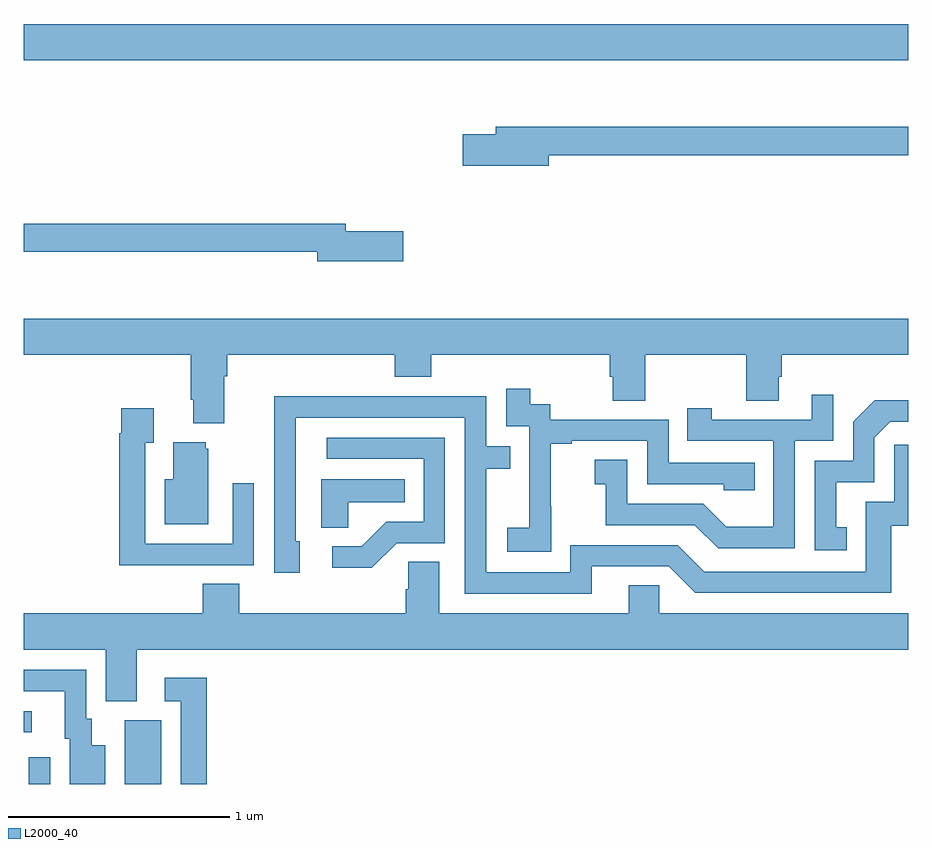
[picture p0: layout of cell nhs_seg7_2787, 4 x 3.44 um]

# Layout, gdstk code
import gdstk
lib = gdstk.Library(unit=1e-6, precision=1e-09)
def R(c, l, rs):  # rectangles x0, y0, x1, y1
    for r in rs: c.add(gdstk.rectangle(r[:2], r[2:], *l))
def P(c, l, *ps):  # polygons
    for p in ps: c.add(gdstk.Polygon(p, *l))
L2000_40 = (2000, 40)

nhs_seg7_2787 = lib.new_cell('nhs_seg7_2787')
R(nhs_seg7_2787, L2000_40, [(291.024,1008,291.12,1008.121), (291.458,1008,291.622,1008.288), (291,1008.234,291.037,1008.33), (291,1011.272,295,1011.436)])
P(nhs_seg7_2787, L2000_40, [(293.374,1010.842),(295,1010.842),(295,1010.971),(293.135,1010.971),(293.135,1010.937),(292.986,1010.937),(292.986,1010.795),(293.374,1010.795)],
  [(292.717,1010.498),(292.456,1010.498),(292.456,1010.534),(291,1010.534),(291,1010.406),(292.328,1010.406),(292.328,1010.363),(292.717,1010.363)],
  [(291.907,1009.844),(291.92,1009.844),(291.92,1009.94),(292.679,1009.94),(292.679,1009.841),(292.844,1009.841),(292.844,1009.94),(293.651,1009.94),(293.651,1009.842),(293.663,1009.842),(293.663,1009.732),(293.811,1009.732),(293.811,1009.94),(294.268,1009.94),(294.268,1009.732),(294.415,1009.732),(294.415,1009.842),(294.428,1009.842),(294.428,1009.94),(295,1009.94),(295,1010.104),(291,1010.104),(291,1009.94),(291.755,1009.94),(291.755,1009.738),(291.767,1009.738),(291.767,1009.631),(291.907,1009.631)],
  [(293.385,1009.255),(293.384,1009.255),(293.384,1009.539),(293.479,1009.539),(293.479,1009.551),(293.82,1009.551),(293.82,1009.356),(294.165,1009.356),(294.165,1009.329),(294.305,1009.329),(294.305,1009.452),(293.916,1009.452),(293.916,1009.647),(293.382,1009.647),(293.382,1009.716),(293.29,1009.716),(293.29,1009.786),(293.181,1009.786),(293.181,1009.617),(293.286,1009.617),(293.286,1009.388),(293.285,1009.388),(293.285,1009.159),(293.187,1009.159),(293.187,1009.049),(293.385,1009.049)],
  [(294.486,1009.551),(294.66,1009.551),(294.66,1009.759),(294.563,1009.759),(294.563,1009.647),(294.112,1009.647),(294.112,1009.699),(294.001,1009.699),(294.001,1009.551),(294.39,1009.551),(294.39,1009.162),(294.176,1009.162),(294.072,1009.266),(293.73,1009.266),(293.73,1009.465),(293.583,1009.465),(293.583,1009.355),(293.632,1009.355),(293.632,1009.17),(294.035,1009.17),(294.14,1009.065),(294.486,1009.065)],
  [(293.569,1008.984),(293.916,1008.984),(294.036,1008.864),(294.923,1008.864),(294.923,1009.167),(295,1009.167),(295,1009.534),(294.936,1009.534),(294.936,1009.275),(294.807,1009.275),(294.807,1008.96),(294.078,1008.96),(293.958,1009.08),(293.472,1009.08),(293.472,1008.957),(293.091,1008.957),(293.091,1009.426),(293.201,1009.426),(293.201,1009.527),(293.091,1009.527),(293.091,1009.752),(292.595,1009.752),(292.595,1009.754),(292.132,1009.754),(292.132,1009.447),(292.134,1009.447),(292.134,1008.954),(292.249,1008.954),(292.249,1009.098),(292.23,1009.098),(292.23,1009.656),(292.995,1009.656),(292.995,1008.861),(293.569,1008.861)],
  [(294.722,1009.161),(294.673,1009.161),(294.673,1009.365),(294.846,1009.365),(294.846,1009.566),(294.918,1009.638),(295,1009.638),(295,1009.736),(294.848,1009.736),(294.75,1009.638),(294.75,1009.461),(294.576,1009.461),(294.576,1009.056),(294.722,1009.056)],
  [(291.725,1008.99),(292.041,1008.99),(292.041,1009.36),(291.945,1009.36),(291.945,1009.086),(291.549,1009.086),(291.549,1009.543),(291.589,1009.543),(291.589,1009.699),(291.441,1009.699),(291.441,1009.586),(291.433,1009.586),(291.433,1008.989),(291.725,1008.989)],
  [(292.686,1009.089),(292.905,1009.089),(292.905,1009.566),(292.371,1009.566),(292.371,1009.47),(292.809,1009.47),(292.809,1009.185),(292.64,1009.185),(292.529,1009.074),(292.395,1009.074),(292.395,1008.977),(292.573,1008.977)],
  [(291.835,1009.515),(291.824,1009.515),(291.824,1009.546),(291.677,1009.546),(291.677,1009.378),(291.638,1009.378),(291.638,1009.175),(291.835,1009.175)],
  [(292.467,1009.274),(292.724,1009.274),(292.724,1009.378),(292.346,1009.378),(292.346,1009.159),(292.467,1009.159)],
  [(291.511,1008.608),(295,1008.608),(295,1008.772),(293.874,1008.772),(293.874,1008.899),(293.735,1008.899),(293.735,1008.772),(292.879,1008.772),(292.879,1009.004),(292.74,1009.004),(292.74,1008.881),(292.727,1008.881),(292.727,1008.772),(291.974,1008.772),(291.974,1008.905),(291.809,1008.905),(291.809,1008.772),(291,1008.772),(291,1008.608),(291.371,1008.608),(291.371,1008.373),(291.511,1008.373)],
  [(291.37,1008.175),(291.307,1008.175),(291.307,1008.294),(291.282,1008.294),(291.282,1008.516),(291,1008.516),(291,1008.42),(291.185,1008.42),(291.185,1008.204),(291.209,1008.204),(291.209,1008),(291.37,1008)],
  [(291.827,1008.481),(291.639,1008.481),(291.639,1008.375),(291.711,1008.375),(291.711,1008),(291.827,1008)])

lib.write_gds('nhs_seg7_2787.gds')
